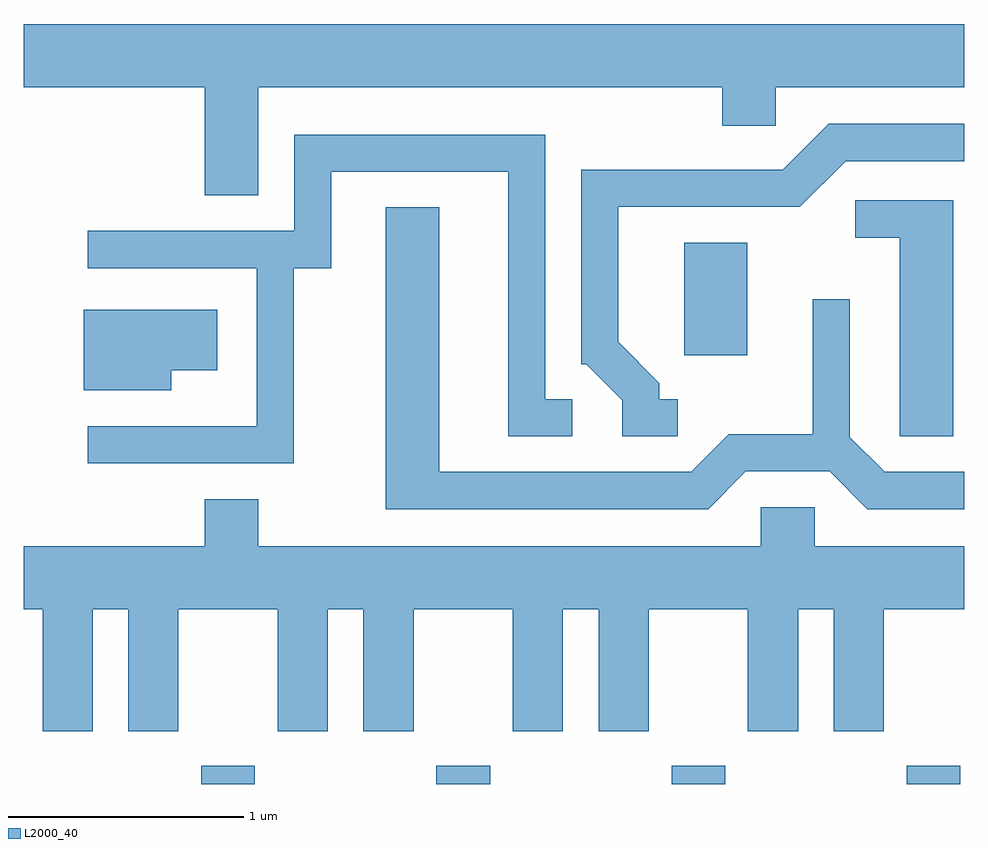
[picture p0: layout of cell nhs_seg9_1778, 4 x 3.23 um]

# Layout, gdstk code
import gdstk
lib = gdstk.Library(unit=1e-6, precision=1e-09)
def R(c, l, rs):  # rectangles x0, y0, x1, y1
    for r in rs: c.add(gdstk.rectangle(r[:2], r[2:], *l))
def A(c, l, x, y, w, h, nx, ny, dx, dy):  # array of equal rectangles
    R(c, l, [(x+i*dx, y+j*dy, x+i*dx+w, y+j*dy+h) for i in range(nx) for j in range(ny)])
def P(c, l, *ps):  # polygons
    for p in ps: c.add(gdstk.Polygon(p, *l))
L2000_40 = (2000, 40)

nhs_seg9_1778 = lib.new_cell('nhs_seg9_1778')
A(nhs_seg9_1778, L2000_40, 238.366, 1964.432, 0.228, 0.077, 4, 1, 1, 0)
R(nhs_seg9_1778, L2000_40, [(240.421,1966.256,240.689,1966.734)])
P(nhs_seg9_1778, L2000_40, [(238.609,1967.396),(240.581,1967.396),(240.581,1967.231),(240.809,1967.231),(240.809,1967.396),(241.611,1967.396),(241.611,1967.664),(237.611,1967.664),(237.611,1967.396),(238.381,1967.396),(238.381,1966.936),(238.609,1966.936)],
  [(240.393,1966.069),(240.314,1966.069),(240.314,1966.137),(240.139,1966.312),(240.139,1966.886),(240.912,1966.886),(241.107,1967.081),(241.611,1967.081),(241.611,1967.239),(241.034,1967.239),(240.839,1967.044),(239.981,1967.044),(239.981,1966.216),(240.004,1966.216),(240.156,1966.064),(240.156,1965.911),(240.393,1965.911)],
  [(238.759,1966.626),(238.919,1966.626),(238.919,1967.036),(239.671,1967.036),(239.671,1965.911),(239.943,1965.911),(239.943,1966.069),(239.829,1966.069),(239.829,1967.194),(238.761,1967.194),(238.761,1966.784),(237.883,1966.784),(237.883,1966.626),(238.601,1966.626),(238.601,1965.954),(237.883,1965.954),(237.883,1965.796),(238.759,1965.796)],
  [(241.564,1966.914),(241.148,1966.914),(241.148,1966.756),(241.336,1966.756),(241.336,1965.911),(241.564,1965.911)],
  [(240.682,1965.761),(241.039,1965.761),(241.199,1965.601),(241.611,1965.601),(241.611,1965.759),(241.272,1965.759),(241.124,1965.907),(241.124,1966.493),(240.966,1966.493),(240.966,1965.919),(240.609,1965.919),(240.449,1965.759),(239.379,1965.759),(239.379,1966.884),(239.151,1966.884),(239.151,1965.601),(240.522,1965.601)],
  [(238.239,1966.191),(238.434,1966.191),(238.434,1966.449),(237.866,1966.449),(237.866,1966.106),(238.239,1966.106)],
  [(237.904,1965.176),(238.056,1965.176),(238.056,1964.656),(238.269,1964.656),(238.269,1965.176),(238.691,1965.176),(238.691,1964.656),(238.904,1964.656),(238.904,1965.176),(239.056,1965.176),(239.056,1964.656),(239.269,1964.656),(239.269,1965.176),(239.691,1965.176),(239.691,1964.656),(239.904,1964.656),(239.904,1965.176),(240.056,1965.176),(240.056,1964.656),(240.269,1964.656),(240.269,1965.176),(240.691,1965.176),(240.691,1964.656),(240.904,1964.656),(240.904,1965.176),(241.056,1965.176),(241.056,1964.656),(241.269,1964.656),(241.269,1965.176),(241.611,1965.176),(241.611,1965.444),(240.974,1965.444),(240.974,1965.609),(240.746,1965.609),(240.746,1965.444),(238.609,1965.444),(238.609,1965.644),(238.381,1965.644),(238.381,1965.444),(237.611,1965.444),(237.611,1965.176),(237.691,1965.176),(237.691,1964.656),(237.904,1964.656)])

lib.write_gds('nhs_seg9_1778.gds')
